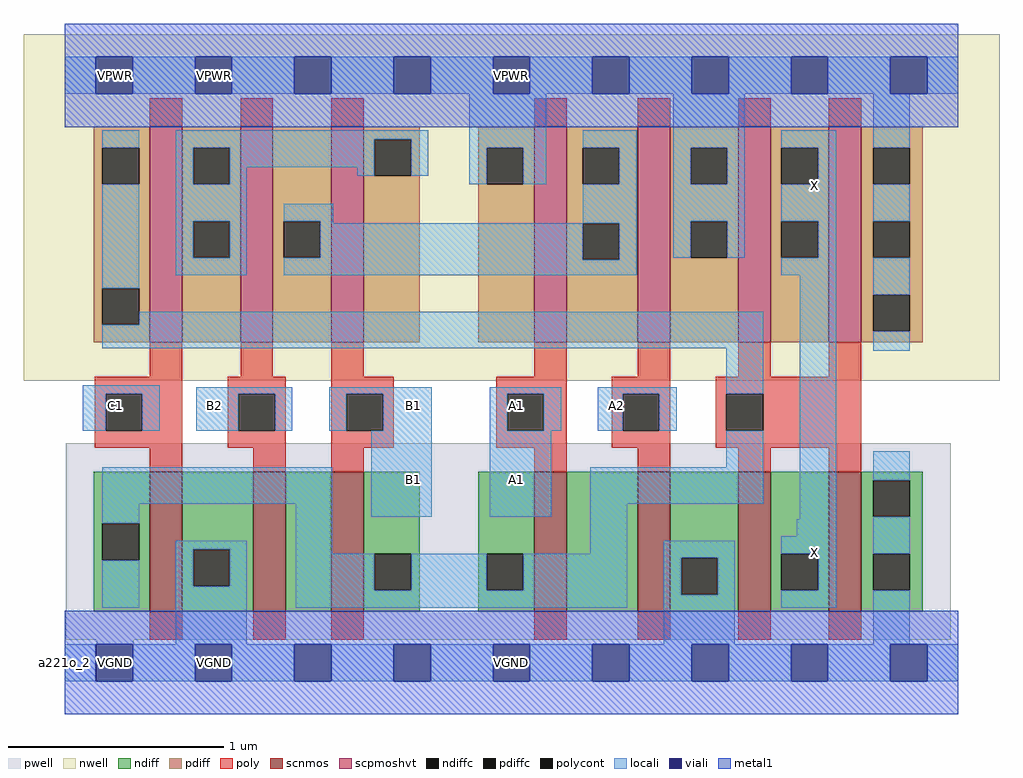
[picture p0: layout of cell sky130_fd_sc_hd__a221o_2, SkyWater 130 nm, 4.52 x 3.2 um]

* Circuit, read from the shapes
.subckt sky130_fd_sc_hd__a221o_2 A1 A2 B1 B2 C1 VGND VNB VPB VPWR X
XM1 VGND C1 n1 VNB sky130_fd_pr__nfet_01v8 w=0.65 l=0.15
XM2 n2 B2 VGND VNB sky130_fd_pr__nfet_01v8 w=0.65 l=0.15
XM3 n1 B1 n2 VNB sky130_fd_pr__nfet_01v8 w=0.65 l=0.15
XM4 n3 A1 n1 VNB sky130_fd_pr__nfet_01v8 w=0.65 l=0.15
XM5 VGND A2 n3 VNB sky130_fd_pr__nfet_01v8 w=0.65 l=0.15
XM6 X n1 VGND VNB sky130_fd_pr__nfet_01v8 w=0.65 l=0.15 m=2
XM7 n4 C1 n1 VPB sky130_fd_pr__pfet_01v8_hvt w=1 l=0.15
XM8 n5 B2 n4 VPB sky130_fd_pr__pfet_01v8_hvt w=1 l=0.15
XM9 n4 B1 n5 VPB sky130_fd_pr__pfet_01v8_hvt w=1 l=0.15
XM10 n5 A1 VPWR VPB sky130_fd_pr__pfet_01v8_hvt w=1 l=0.15
XM11 VPWR A2 n5 VPB sky130_fd_pr__pfet_01v8_hvt w=1 l=0.15
XM12 X n1 VPWR VPB sky130_fd_pr__pfet_01v8_hvt w=1 l=0.15 m=2
.ends

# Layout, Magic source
magic
tech sky130A
magscale 1 2
<< nwell >>
rect -38 261 866 582
<< pwell >>
rect 1 21 821 203
rect 30 -17 64 21
<< scnmos >>
rect 79 47 109 177
rect 175 47 205 177
rect 247 47 277 177
rect 435 47 465 177
rect 531 47 561 177
rect 624 47 654 177
rect 708 47 738 177
<< scpmoshvt >>
rect 79 297 109 497
rect 163 297 193 497
rect 247 297 277 497
rect 435 297 465 497
rect 531 297 561 497
rect 624 297 654 497
rect 708 297 738 497
<< ndiff >>
rect 27 129 79 177
rect 27 95 35 129
rect 69 95 79 129
rect 27 47 79 95
rect 109 105 175 177
rect 109 71 119 105
rect 153 71 175 105
rect 109 47 175 71
rect 205 47 247 177
rect 277 101 329 177
rect 277 67 287 101
rect 321 67 329 101
rect 277 47 329 67
rect 383 101 435 177
rect 383 67 391 101
rect 425 67 435 101
rect 383 47 435 67
rect 465 47 531 177
rect 561 97 624 177
rect 561 63 571 97
rect 605 63 624 97
rect 561 47 624 63
rect 654 101 708 177
rect 654 67 664 101
rect 698 67 708 101
rect 654 47 708 67
rect 738 169 795 177
rect 738 135 749 169
rect 783 135 795 169
rect 738 101 795 135
rect 738 67 749 101
rect 783 67 795 101
rect 738 47 795 67
<< pdiff >>
rect 27 477 79 497
rect 27 443 35 477
rect 69 443 79 477
rect 27 347 79 443
rect 27 313 35 347
rect 69 313 79 347
rect 27 297 79 313
rect 109 477 163 497
rect 109 443 119 477
rect 153 443 163 477
rect 109 409 163 443
rect 109 375 119 409
rect 153 375 163 409
rect 109 297 163 375
rect 193 409 247 497
rect 193 375 203 409
rect 237 375 247 409
rect 193 297 247 375
rect 277 485 329 497
rect 277 451 287 485
rect 321 451 329 485
rect 277 297 329 451
rect 383 477 435 497
rect 383 443 391 477
rect 425 443 435 477
rect 383 297 435 443
rect 465 477 531 497
rect 465 443 480 477
rect 514 443 531 477
rect 465 407 531 443
rect 465 373 480 407
rect 514 373 531 407
rect 465 297 531 373
rect 561 477 624 497
rect 561 443 580 477
rect 614 443 624 477
rect 561 409 624 443
rect 561 375 580 409
rect 614 375 624 409
rect 561 297 624 375
rect 654 477 708 497
rect 654 443 664 477
rect 698 443 708 477
rect 654 409 708 443
rect 654 375 664 409
rect 698 375 708 409
rect 654 297 708 375
rect 738 477 795 497
rect 738 443 749 477
rect 783 443 795 477
rect 738 409 795 443
rect 738 375 749 409
rect 783 375 795 409
rect 738 341 795 375
rect 738 307 749 341
rect 783 307 795 341
rect 738 297 795 307
<< ndiffc >>
rect 35 95 69 129
rect 119 71 153 105
rect 287 67 321 101
rect 391 67 425 101
rect 571 63 605 97
rect 664 67 698 101
rect 749 135 783 169
rect 749 67 783 101
<< pdiffc >>
rect 35 443 69 477
rect 35 313 69 347
rect 119 443 153 477
rect 119 375 153 409
rect 203 375 237 409
rect 287 451 321 485
rect 391 443 425 477
rect 480 443 514 477
rect 480 373 514 407
rect 580 443 614 477
rect 580 375 614 409
rect 664 443 698 477
rect 664 375 698 409
rect 749 443 783 477
rect 749 375 783 409
rect 749 307 783 341
<< poly >>
rect 79 497 109 523
rect 163 497 193 523
rect 247 497 277 523
rect 435 497 465 523
rect 531 497 561 523
rect 624 497 654 523
rect 708 497 738 523
rect 79 265 109 297
rect 163 265 193 297
rect 247 265 277 297
rect 435 265 465 297
rect 531 265 561 297
rect 624 265 654 297
rect 708 265 738 297
rect 28 249 109 265
rect 28 215 38 249
rect 72 215 109 249
rect 28 199 109 215
rect 151 249 205 265
rect 151 215 161 249
rect 195 215 205 249
rect 151 199 205 215
rect 79 177 109 199
rect 175 177 205 199
rect 247 249 305 265
rect 247 215 261 249
rect 295 215 305 249
rect 247 199 305 215
rect 400 249 465 265
rect 400 215 410 249
rect 444 215 465 249
rect 400 199 465 215
rect 507 249 561 265
rect 507 215 517 249
rect 551 215 561 249
rect 507 199 561 215
rect 603 249 738 265
rect 603 215 613 249
rect 647 215 738 249
rect 603 199 738 215
rect 247 177 277 199
rect 435 177 465 199
rect 531 177 561 199
rect 624 177 654 199
rect 708 177 738 199
rect 79 21 109 47
rect 175 21 205 47
rect 247 21 277 47
rect 435 21 465 47
rect 531 21 561 47
rect 624 21 654 47
rect 708 21 738 47
<< polycont >>
rect 38 215 72 249
rect 161 215 195 249
rect 261 215 295 249
rect 410 215 444 249
rect 517 215 551 249
rect 613 215 647 249
<< locali >>
rect 0 527 29 561
rect 63 527 121 561
rect 155 527 213 561
rect 247 527 305 561
rect 339 527 397 561
rect 431 527 489 561
rect 523 527 581 561
rect 615 527 673 561
rect 707 527 765 561
rect 799 527 828 561
rect 35 477 69 493
rect 35 347 69 443
rect 103 485 337 493
rect 103 477 287 485
rect 103 443 119 477
rect 153 459 287 477
rect 153 443 169 459
rect 271 451 287 459
rect 321 451 337 485
rect 375 477 446 527
rect 375 443 391 477
rect 425 443 446 477
rect 480 477 530 493
rect 514 443 530 477
rect 103 409 169 443
rect 103 375 119 409
rect 153 375 169 409
rect 103 359 169 375
rect 203 409 249 425
rect 237 407 249 409
rect 480 407 530 443
rect 237 375 480 407
rect 203 373 480 375
rect 514 373 530 407
rect 564 477 630 527
rect 564 443 580 477
rect 614 443 630 477
rect 564 409 630 443
rect 564 375 580 409
rect 614 375 630 409
rect 664 477 715 493
rect 698 443 715 477
rect 664 409 715 443
rect 698 375 715 409
rect 203 359 530 373
rect 664 359 715 375
rect 69 313 647 325
rect 35 291 647 313
rect 17 249 88 257
rect 17 215 38 249
rect 72 215 88 249
rect 122 249 211 255
rect 122 215 161 249
rect 195 215 211 249
rect 245 249 340 255
rect 245 215 261 249
rect 295 215 340 249
rect 35 147 248 181
rect 35 129 69 147
rect 35 51 69 95
rect 103 105 169 113
rect 103 71 119 105
rect 153 71 169 105
rect 103 17 169 71
rect 214 101 248 147
rect 284 135 340 215
rect 394 249 460 255
rect 394 215 410 249
rect 444 215 460 249
rect 494 249 567 255
rect 494 215 517 249
rect 551 215 567 249
rect 613 249 647 291
rect 394 135 451 215
rect 613 181 647 215
rect 487 147 647 181
rect 487 101 521 147
rect 681 133 715 359
rect 749 477 783 527
rect 749 409 783 443
rect 749 341 783 375
rect 749 289 783 307
rect 678 117 715 133
rect 214 67 287 101
rect 321 67 391 101
rect 425 67 521 101
rect 214 51 521 67
rect 555 97 621 113
rect 555 63 571 97
rect 605 63 621 97
rect 555 17 621 63
rect 664 101 715 117
rect 698 67 715 101
rect 664 51 715 67
rect 749 169 783 196
rect 749 101 783 135
rect 749 17 783 67
rect 0 -17 29 17
rect 63 -17 121 17
rect 155 -17 213 17
rect 247 -17 305 17
rect 339 -17 397 17
rect 431 -17 489 17
rect 523 -17 581 17
rect 615 -17 673 17
rect 707 -17 765 17
rect 799 -17 828 17
<< viali >>
rect 29 527 63 561
rect 121 527 155 561
rect 213 527 247 561
rect 305 527 339 561
rect 397 527 431 561
rect 489 527 523 561
rect 581 527 615 561
rect 673 527 707 561
rect 765 527 799 561
rect 29 -17 63 17
rect 121 -17 155 17
rect 213 -17 247 17
rect 305 -17 339 17
rect 397 -17 431 17
rect 489 -17 523 17
rect 581 -17 615 17
rect 673 -17 707 17
rect 765 -17 799 17
<< metal1 >>
rect 0 561 828 592
rect 0 527 29 561
rect 63 527 121 561
rect 155 527 213 561
rect 247 527 305 561
rect 339 527 397 561
rect 431 527 489 561
rect 523 527 581 561
rect 615 527 673 561
rect 707 527 765 561
rect 799 527 828 561
rect 0 496 828 527
rect 0 17 828 48
rect 0 -17 29 17
rect 63 -17 121 17
rect 155 -17 213 17
rect 247 -17 305 17
rect 339 -17 397 17
rect 431 -17 489 17
rect 523 -17 581 17
rect 615 -17 673 17
rect 707 -17 765 17
rect 799 -17 828 17
rect 0 -48 828 -17
<< labels >>
flabel locali s 678 85 712 119 0 FreeSans 200 0 0 0 X
port 10 nsew signal output
flabel locali s 306 153 340 187 0 FreeSans 200 0 0 0 B1
port 3 nsew signal input
flabel locali s 402 153 436 187 0 FreeSans 200 0 0 0 A1
port 1 nsew signal input
flabel locali s 306 221 340 255 0 FreeSans 200 0 0 0 B1
port 3 nsew signal input
flabel locali s 122 221 156 255 0 FreeSans 200 0 0 0 B2
port 4 nsew signal input
flabel locali s 678 425 712 459 0 FreeSans 200 0 0 0 X
port 10 nsew signal output
flabel locali s 494 221 528 255 0 FreeSans 200 0 0 0 A2
port 2 nsew signal input
flabel locali s 402 221 436 255 0 FreeSans 200 0 0 0 A1
port 1 nsew signal input
flabel locali s 122 -17 156 17 0 FreeSans 200 0 0 0 VGND
port 6 nsew ground bidirectional abutment
flabel locali s 122 527 156 561 0 FreeSans 200 0 0 0 VPWR
port 9 nsew power bidirectional abutment
flabel locali s 30 221 64 255 0 FreeSans 200 0 0 0 C1
port 5 nsew signal input
flabel metal1 s 30 527 64 561 0 FreeSans 200 0 0 0 VPWR
port 9 nsew power bidirectional abutment
flabel metal1 s 30 -17 64 17 0 FreeSans 200 0 0 0 VGND
port 6 nsew ground bidirectional abutment
flabel nwell s 30 527 64 561 0 FreeSans 200 0 0 0 VPB
port 8 nsew power bidirectional
flabel pwell s 30 -17 64 17 0 FreeSans 200 0 0 0 VNB
port 7 nsew ground bidirectional
rlabel comment s 0 0 0 0 4 a221o_2
rlabel metal1 s 0 -48 828 48 1 VGND
port 6 nsew ground bidirectional abutment
rlabel metal1 s 0 496 828 592 1 VPWR
port 9 nsew power bidirectional abutment
<< properties >>
string FIXED_BBOX 0 0 828 544
string GDS_END 3583452
string GDS_FILE $PDKPATH/libs.ref/sky130_fd_sc_hd/gds/sky130_fd_sc_hd.gds
string GDS_START 3575776
string LEFclass CORE
string LEFsite unithd
string LEFsymmetry X Y R90
string path 0.000 13.600 20.700 13.600 
<< end >>
